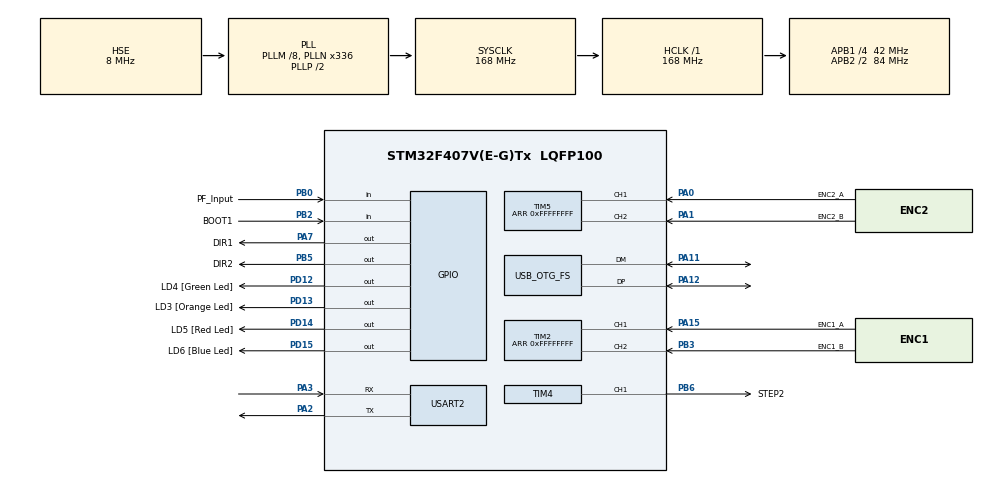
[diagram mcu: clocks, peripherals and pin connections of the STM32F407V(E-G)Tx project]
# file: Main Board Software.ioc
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Mcu.Family=STM32F4
Mcu.Name=STM32F407V(E-G)Tx
Mcu.Package=LQFP100
NVIC.OTG_FS_IRQn=true\:0\:0\:false\:false\:true\:false\:true
NVIC.PriorityGroup=NVIC_PRIORITYGROUP_4
NVIC.TIM1_TRG_COM_TIM11_IRQn=true\:0\:0\:false\:false\:true\:true\:true
NVIC.TIM3_IRQn=true\:0\:0\:false\:false\:true\:true\:true
NVIC.TIM6_DAC_IRQn=true\:0\:0\:false\:false\:true\:true\:true
NVIC.TIM7_IRQn=true\:0\:0\:false\:false\:true\:true\:true
NVIC.TIM8_UP_TIM13_IRQn=true\:0\:0\:false\:false\:true\:true\:true
PA0-WKUP.GPIO_Label=ENC2_A
PA0-WKUP.Signal=S_TIM5_CH1
PA1.GPIO_Label=ENC2_B
PA1.Signal=S_TIM5_CH2
PA11.Mode=Device_Only
PA11.Signal=USB_OTG_FS_DM
PA12.Mode=Device_Only
PA12.Signal=USB_OTG_FS_DP
PA13.GPIO_Label=SWDIO
PA13.Signal=SYS_JTMS-SWDIO
PA14.GPIO_Label=SWCLK
PA14.Signal=SYS_JTCK-SWCLK
PA15.GPIO_Label=ENC1_A
PA15.Signal=S_TIM2_CH1_ETR
PA2.Mode=Asynchronous
PA2.Signal=USART2_TX
PA3.Mode=Asynchronous
PA3.Signal=USART2_RX
PA7.GPIO_Label=DIR1
PA7.Signal=GPIO_Output
PB0.GPIO_Label=PF_Input
PB0.Signal=GPIO_Input
PB2.GPIO_Label=BOOT1
PB2.GPIO_Mode=GPIO_MODE_INPUT
PB2.GPIO_PuPd=GPIO_NOPULL
PB2.Signal=GPIO_Input
PB3.GPIO_Label=ENC1_B
PB3.Signal=S_TIM2_CH2
PB5.GPIO_Label=DIR2
PB5.Signal=GPIO_Output
PB6.GPIO_Label=STEP2
PB6.Signal=S_TIM4_CH1
PD12.GPIO_Label=LD4 [Green Led]
PD12.GPIO_PuPd=GPIO_NOPULL
PD12.GPIO_Speed=GPIO_SPEED_FREQ_VERY_HIGH
PD12.Signal=GPIO_Output
PD13.GPIO_Label=LD3 [Orange Led]
PD13.GPIO_PuPd=GPIO_NOPULL
PD13.GPIO_Speed=GPIO_SPEED_FREQ_VERY_HIGH
PD13.Signal=GPIO_Output
PD14.GPIO_Label=LD5 [Red Led]
PD14.GPIO_PuPd=GPIO_NOPULL
PD14.GPIO_Speed=GPIO_SPEED_FREQ_LOW
PD14.Signal=GPIO_Output
PD15.GPIO_Label=LD6 [Blue Led]
PD15.GPIO_PuPd=GPIO_NOPULL
PD15.GPIO_Speed=GPIO_SPEED_FREQ_LOW
PD15.Signal=GPIO_Output
PH0-OSC_IN.GPIO_Label=PH0-OSC_IN
PH0-OSC_IN.Mode=HSE-External-Oscillator
PH0-OSC_IN.Signal=RCC_OSC_IN
PH1-OSC_OUT.GPIO_Label=PH1-OSC_OUT
PH1-OSC_OUT.Mode=HSE-External-Oscillator
PH1-OSC_OUT.Signal=RCC_OSC_OUT
ProjectManager.HeapSize=0x200
ProjectManager.StackSize=0x400
ProjectManager.TargetToolchain=SW4STM32
RCC.48MHZClocksFreq_Value=48000000
RCC.AHBFreq_Value=168000000
RCC.APB1CLKDivider=RCC_HCLK_DIV4
RCC.APB1Freq_Value=42000000
RCC.APB1TimFreq_Value=84000000
RCC.APB2CLKDivider=RCC_HCLK_DIV2
RCC.APB2Freq_Value=84000000
RCC.APB2TimFreq_Value=168000000
RCC.CortexFreq_Value=168000000
RCC.HCLKFreq_Value=168000000
RCC.HSE_VALUE=8000000
RCC.HSI_VALUE=16000000
RCC.LSE_VALUE=32768
RCC.PLLM=8
RCC.PLLN=336
RCC.PLLQ=7
RCC.SYSCLKFreq_VALUE=168000000
RCC.SYSCLKSource=RCC_SYSCLKSOURCE_PLLCLK
RCC.VCOOutputFreq_Value=336000000
SH.S_TIM2_CH1_ETR.0=TIM2_CH1,Encoder_Interface
SH.S_TIM2_CH2.0=TIM2_CH2,Encoder_Interface
SH.S_TIM4_CH1.0=TIM4_CH1,PWM Generation1 CH1
SH.S_TIM5_CH1.0=TIM5_CH1,Encoder_Interface
SH.S_TIM5_CH2.0=TIM5_CH2,Encoder_Interface
TIM1.Period=0xFFFF
TIM1.Prescaler=0
TIM1.TIM_MasterOutputTrigger=TIM_TRGO_RESET
TIM1.TIM_MasterSlaveMode=TIM_MASTERSLAVEMODE_DISABLE
TIM2.EncoderMode=TIM_ENCODERMODE_TI12
TIM2.IC1Filter=15
TIM2.IC2Filter=15
TIM2.Period=0xFFFFFFFF
TIM3.AutoReloadPreload=TIM_AUTORELOAD_PRELOAD_DISABLE
TIM3.ClockDivision=TIM_CLOCKDIVISION_DIV1
TIM3.Period=65535
TIM3.Prescaler=167
TIM3.TIM_MasterOutputTrigger=TIM_TRGO_RESET
TIM3.TIM_MasterSlaveMode=TIM_MASTERSLAVEMODE_DISABLE
TIM4.Channel-PWM\ Generation1\ CH1=TIM_CHANNEL_1
TIM4.Period=1049
TIM4.Prescaler=1599
TIM4.Pulse-PWM\ Generation1\ CH1=524
TIM4.TIM_MasterSlaveMode=TIM_MASTERSLAVEMODE_ENABLE
TIM5.EncoderMode=TIM_ENCODERMODE_TI12
TIM5.IC1Filter=15
TIM5.IC2Filter=15
TIM5.Period=0xFFFFFFFF
TIM6.Period=9
TIM6.Prescaler=8399
TIM7.AutoReloadPreload=TIM_AUTORELOAD_PRELOAD_ENABLE
TIM7.Period=0
TIM7.Prescaler=7
TIM7.TIM_MasterOutputTrigger=TIM_TRGO_RESET
TIM8.Period=0xFFFF
TIM8.Prescaler=1
USART2.VirtualMode=VM_ASYNC
USB_DEVICE.CLASS_NAME_FS=CDC
USB_DEVICE.VirtualMode-CDC_FS=Cdc
USB_DEVICE.VirtualModeFS=Cdc_FS
USB_OTG_FS.VirtualMode=Device_Only
VP_TIM1_VS_ClockSourceITR.Mode=TriggerSource_ITR2
VP_TIM1_VS_ControllerModeClock.Mode=Clock Mode
VP_TIM3_VS_ClockSourceINT.Mode=Internal
VP_TIM4_VS_ClockSourceINT.Mode=Internal
VP_TIM6_VS_ClockSourceINT.Mode=Enable_Timer
VP_TIM7_VS_ClockSourceINT.Mode=Enable_Timer
VP_TIM8_VS_ClockSourceITR.Mode=TriggerSource_ITR2
VP_TIM8_VS_ControllerModeTrigger.Mode=Trigger Mode
VP_USB_DEVICE_VS_USB_DEVICE_CDC_FS.Mode=CDC_FS
board=custom

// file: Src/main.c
/* USER CODE BEGIN Header */
/**
  ******************************************************************************
  * @file           : main.c
  * @brief          : Main program body
  ******************************************************************************
  * @attention
  *
  * <h2><center>&copy; Copyright (c) 2019 STMicroelectronics.
  * All rights reserved.</center></h2>
  *
  * This software component is licensed by ST under Ultimate Liberty license
  * SLA0044, the "License"; You may not use this file except in compliance with
  * the License. You may obtain a copy of the License at:
  *                             www.st.com/SLA0044
  *
  ******************************************************************************
  */
/* USER CODE END Header */

#include "main.h"
#include "usb_device.h"

/* USER CODE BEGIN Includes */
#include "usbd_cdc_if.h"
#include "tools.h"
#include "task_scheduler.h"
#include "motion_controller.h"
/* USER CODE END Includes */

TIM_HandleTypeDef htim1;
TIM_HandleTypeDef htim2;
TIM_HandleTypeDef htim3;
TIM_HandleTypeDef htim4;
TIM_HandleTypeDef htim5;
TIM_HandleTypeDef htim6;
TIM_HandleTypeDef htim7;
TIM_HandleTypeDef htim8;

UART_HandleTypeDef huart2;

/* USER CODE BEGIN PV */
/**USART2 GPIO Configuration
PA2     ------> USART2_TX
PA3     ------> USART2_RX
*/

MotionController MotionX = {
		.back_down_limit_gpio_port = 0,
		.back_down_limit_pin = 0,
		.front_up_limit_gpio_port = 0,
		.front_up_limit_pin = 0,
		.dir_gpio_port = LD3_GPIO_Port,
		.dir_pin = LD3_Pin,
		.step_gpio_port = LD5_GPIO_Port,
		.step_pin = LD5_Pin,
		.timer = &htim3,
		.uart = &huart2,
		.tmc_addr = 0
};

SchedulerTasks stsTasks;
Task tLedTask, tSendPos;
Task tCore;

//Variable for IntToChar function
char text[12] = {0};

volatile int vgActualPos;

volatile uint16_t vgStartSpeed;
volatile uint16_t vgActualSpeed;
volatile uint16_t vgTargetSpeed;
volatile uint16_t vgRisingRamp;
volatile uint16_t vgFallingRamp;
volatile uint32_t vgFallingRampStartPos;
volatile uint32_t vgTargetPos;
volatile uint32_t vgActualMovementPos;
volatile uint8_t vgMovementState;
volatile DIRECTION vgDIR = FORWARD;
volatile uint8_t vgMovementFinishFlag = 1;

uint8_t flag = 1;
/* USER CODE END PV */

void SystemClock_Config(void);
static void MX_GPIO_Init(void);
static void MX_TIM1_Init(void);
static void MX_TIM2_Init(void);
static void MX_TIM3_Init(void);
static void MX_TIM4_Init(void);
static void MX_TIM5_Init(void);
static void MX_TIM6_Init(void);
static void MX_TIM7_Init(void);
static void MX_TIM8_Init(void);
static void MX_USART2_UART_Init(void);

/* USER CODE BEGIN 0 */

void print(const char *s) {
  while (*s!='\0') {
	  HAL_UART_Transmit(&huart2, (uint8_t *)s++, 1, 10);
	  //TODO: Use DMA or IT to send data
  }
}

/**
 *  Led task
 */
void led()
{
	HAL_GPIO_TogglePin(GPIOD, LD6_Pin);
}

/*
 * Go to correct position and stop
 */
void MotorStartPos()
{

}

/*	Generate pulses to motor
 *	Parameter:
 *	rising_ramp - in Hz
 *	falling_ramp - in Hz
 *	start_speed - in Hz
 *	target_speed - in Hz
 *	pulses - how many pulses
 *	dir - FORWARD/REVERSE
 */
void MotorStartPulsesRamp(uint16_t rising_ramp, uint16_t falling_ramp,uint16_t start_speed, uint16_t target_speed, uint32_t pulses, DIRECTION dir)
{
	if(dir == FORWARD)
	{
		HAL_GPIO_WritePin(DIR1_GPIO_Port, DIR1_Pin,GPIO_PIN_RESET);
		vgDIR = FORWARD;
	} else {
		HAL_GPIO_WritePin(DIR1_GPIO_Port, DIR1_Pin,GPIO_PIN_SET);
		vgDIR = REVERSE;
	}
	//Calculate parameters for PWM, ramps, pulses itd.
	vgMovementState = 0;
	vgActualMovementPos = 0;
	vgMovementFinishFlag = 0;
	vgActualPos = 0; //Not absolute position, just relative and only positive
	vgStartSpeed = start_speed;
	vgActualSpeed = start_speed;
	vgTargetSpeed = target_speed;
	vgRisingRamp = rising_ramp;
	vgFallingRampStartPos = pulses - (target_speed/falling_ramp);
	vgFallingRamp = falling_ramp;
	vgTargetPos = pulses;

	//Set start frequency of the PWM
	htim3.Instance->PSC = (uint16_t)((uint32_t)84000000/((uint32_t)start_speed*1049)-1);
	//Start PWM
	HAL_TIM_PWM_Start(&htim3, TIM_CHANNEL_1);
}

/*
 * Motor stop
 */
void MotorStop()
{
	HAL_TIM_PWM_Stop(&htim3, TIM_CHANNEL_1);
}

/**
 *  Led task
 */
void sendPos()
{
	print("Pos: ");
	//IntToChar((htim1.Instance->CNT + pos), text);
	print(text);
	print("\r\n");
}

/**
 * USB Send task
 */
void usbSend()
{
	HAL_GPIO_TogglePin(LD4_GPIO_Port, LD4_Pin);
	/* CDC structure where we check if the USB is transmitting */
	USBD_CDC_HandleTypeDef  *hcdc;
	/* if USB ready and sent previous data start transmitting*/
	if(hUsbDeviceFS.dev_state ==  USBD_STATE_CONFIGURED && (hcdc = hUsbDeviceFS.pClassData) != 0 && hcdc->TxState == 0)
	{
	  /* send data over usb, we have 1000 16bit samples which is 2000bytes */
	  //TODO Use usb to send data instead UART
	  //CDC_Transmit_FS((uint8_t *)aDataP, 2000);
	  /* after finish transmit we can send more */
	}
}

void Core()
{

	if(MotionX.running==FALSE)
	{
		if(flag)
		{
			MotionMoveSteps(&MotionX, 100000, 50000, 10000, 4000);
			flag = 0;
		} else
		{
			MotionMoveSteps(&MotionX, -100000, 50000, 10000, 4000);
			flag = 1;
		}
	}

}

/* USER CODE END 0 */

int main(void)
{

  /* MCU Configuration--------------------------------------------------------*/

  /* Reset of all peripherals, Initializes the Flash interface and the Systick. */
  HAL_Init();

  /* Configure the system clock */
  SystemClock_Config();

  /* Initialize all configured peripherals */
  MX_GPIO_Init();
  MX_TIM1_Init();
  MX_TIM2_Init();
  MX_TIM3_Init();
  MX_TIM4_Init();
  MX_TIM5_Init();
  MX_TIM6_Init();
  MX_TIM7_Init();
  MX_TIM8_Init();
  MX_USART2_UART_Init();
  MX_USB_DEVICE_Init();
  /* USER CODE BEGIN 2 */

  SchedulerInit(&stsTasks);
  TaskCreate(&stsTasks, &tLedTask, &led, 255);
  TaskStart(&tLedTask, 500);
  TaskCreate(&stsTasks, &tCore, &Core, 5);
  TaskStart(&tCore, 2000);

	//Enabled Timer1 responsible for change PWM frequency and other stuff
	//__HAL_TIM_CLEAR_IT(&htim1, TIM_IT_TRIGGER);
	//__HAL_TIM_ENABLE_IT(&htim1, TIM_IT_TRIGGER);
	//HAL_TIM_Base_Start_IT(&htim3);

  MotionControllerInitialize(&MotionX);
  /* USER CODE END 2 */

  /* Infinite loop */
  /* USER CODE BEGIN WHILE */
  print("Start Scheduler\r\n");

  while(1)
  {
	  //Start Schedulers
	  Scheduler(&stsTasks);
    /* USER CODE END WHILE */

  }
}

void SystemClock_Config(void)
{
  RCC_OscInitTypeDef RCC_OscInitStruct = {0};
  RCC_ClkInitTypeDef RCC_ClkInitStruct = {0};

  /** Configure the main internal regulator output voltage
  */
  __HAL_RCC_PWR_CLK_ENABLE();
  __HAL_PWR_VOLTAGESCALING_CONFIG(PWR_REGULATOR_VOLTAGE_SCALE1);
  /** Initializes the CPU, AHB and APB busses clocks
  */
  RCC_OscInitStruct.OscillatorType = RCC_OSCILLATORTYPE_HSE;
  RCC_OscInitStruct.HSEState = RCC_HSE_ON;
  RCC_OscInitStruct.PLL.PLLState = RCC_PLL_ON;
  RCC_OscInitStruct.PLL.PLLSource = RCC_PLLSOURCE_HSE;
  RCC_OscInitStruct.PLL.PLLM = 8;
  RCC_OscInitStruct.PLL.PLLN = 336;
  RCC_OscInitStruct.PLL.PLLP = RCC_PLLP_DIV2;
  RCC_OscInitStruct.PLL.PLLQ = 7;
  if (HAL_RCC_OscConfig(&RCC_OscInitStruct) != HAL_OK)
  {
    Error_Handler();
  }
  /** Initializes the CPU, AHB and APB busses clocks
  */
  RCC_ClkInitStruct.ClockType = RCC_CLOCKTYPE_HCLK|RCC_CLOCKTYPE_SYSCLK
                              |RCC_CLOCKTYPE_PCLK1|RCC_CLOCKTYPE_PCLK2;
  RCC_ClkInitStruct.SYSCLKSource = RCC_SYSCLKSOURCE_PLLCLK;
  RCC_ClkInitStruct.AHBCLKDivider = RCC_SYSCLK_DIV1;
  RCC_ClkInitStruct.APB1CLKDivider = RCC_HCLK_DIV4;
  RCC_ClkInitStruct.APB2CLKDivider = RCC_HCLK_DIV2;

  if (HAL_RCC_ClockConfig(&RCC_ClkInitStruct, FLASH_LATENCY_5) != HAL_OK)
  {
    Error_Handler();
  }
}

static void MX_TIM1_Init(void)
{

  TIM_SlaveConfigTypeDef sSlaveConfig = {0};
  TIM_MasterConfigTypeDef sMasterConfig = {0};

  htim1.Instance = TIM1;
  htim1.Init.Prescaler = 0;
  htim1.Init.CounterMode = TIM_COUNTERMODE_UP;
  htim1.Init.Period = 0xFFFF;
  htim1.Init.ClockDivision = TIM_CLOCKDIVISION_DIV1;
  htim1.Init.RepetitionCounter = 0;
  htim1.Init.AutoReloadPreload = TIM_AUTORELOAD_PRELOAD_DISABLE;
  if (HAL_TIM_Base_Init(&htim1) != HAL_OK)
  {
    Error_Handler();
  }
  sSlaveConfig.SlaveMode = TIM_SLAVEMODE_EXTERNAL1;
  sSlaveConfig.InputTrigger = TIM_TS_ITR2;
  if (HAL_TIM_SlaveConfigSynchro(&htim1, &sSlaveConfig) != HAL_OK)
  {
    Error_Handler();
  }
  sMasterConfig.MasterOutputTrigger = TIM_TRGO_RESET;
  sMasterConfig.MasterSlaveMode = TIM_MASTERSLAVEMODE_DISABLE;
  if (HAL_TIMEx_MasterConfigSynchronization(&htim1, &sMasterConfig) != HAL_OK)
  {
    Error_Handler();
  }

}

static void MX_TIM2_Init(void)
{

  TIM_Encoder_InitTypeDef sConfig = {0};
  TIM_MasterConfigTypeDef sMasterConfig = {0};

  htim2.Instance = TIM2;
  htim2.Init.Prescaler = 0;
  htim2.Init.CounterMode = TIM_COUNTERMODE_UP;
  htim2.Init.Period = 0xFFFFFFFF;
  htim2.Init.ClockDivision = TIM_CLOCKDIVISION_DIV1;
  htim2.Init.AutoReloadPreload = TIM_AUTORELOAD_PRELOAD_DISABLE;
  sConfig.EncoderMode = TIM_ENCODERMODE_TI12;
  sConfig.IC1Polarity = TIM_ICPOLARITY_RISING;
  sConfig.IC1Selection = TIM_ICSELECTION_DIRECTTI;
  sConfig.IC1Prescaler = TIM_ICPSC_DIV1;
  sConfig.IC1Filter = 15;
  sConfig.IC2Polarity = TIM_ICPOLARITY_RISING;
  sConfig.IC2Selection = TIM_ICSELECTION_DIRECTTI;
  sConfig.IC2Prescaler = TIM_ICPSC_DIV1;
  sConfig.IC2Filter = 15;
  if (HAL_TIM_Encoder_Init(&htim2, &sConfig) != HAL_OK)
  {
    Error_Handler();
  }
  sMasterConfig.MasterOutputTrigger = TIM_TRGO_RESET;
  sMasterConfig.MasterSlaveMode = TIM_MASTERSLAVEMODE_DISABLE;
  if (HAL_TIMEx_MasterConfigSynchronization(&htim2, &sMasterConfig) != HAL_OK)
  {
    Error_Handler();
  }

}

static void MX_TIM3_Init(void)
{

  TIM_ClockConfigTypeDef sClockSourceConfig = {0};
  TIM_MasterConfigTypeDef sMasterConfig = {0};

  htim3.Instance = TIM3;
  htim3.Init.Prescaler = 167;
  htim3.Init.CounterMode = TIM_COUNTERMODE_UP;
  htim3.Init.Period = 65535;
  htim3.Init.ClockDivision = TIM_CLOCKDIVISION_DIV1;
  htim3.Init.AutoReloadPreload = TIM_AUTORELOAD_PRELOAD_DISABLE;
  if (HAL_TIM_Base_Init(&htim3) != HAL_OK)
  {
    Error_Handler();
  }
  sClockSourceConfig.ClockSource = TIM_CLOCKSOURCE_INTERNAL;
  if (HAL_TIM_ConfigClockSource(&htim3, &sClockSourceConfig) != HAL_OK)
  {
    Error_Handler();
  }
  sMasterConfig.MasterOutputTrigger = TIM_TRGO_RESET;
  sMasterConfig.MasterSlaveMode = TIM_MASTERSLAVEMODE_DISABLE;
  if (HAL_TIMEx_MasterConfigSynchronization(&htim3, &sMasterConfig) != HAL_OK)
  {
    Error_Handler();
  }

}

static void MX_TIM4_Init(void)
{

  TIM_ClockConfigTypeDef sClockSourceConfig = {0};
  TIM_MasterConfigTypeDef sMasterConfig = {0};
  TIM_OC_InitTypeDef sConfigOC = {0};

  htim4.Instance = TIM4;
  htim4.Init.Prescaler = 1599;
  htim4.Init.CounterMode = TIM_COUNTERMODE_UP;
  htim4.Init.Period = 1049;
  htim4.Init.ClockDivision = TIM_CLOCKDIVISION_DIV1;
  htim4.Init.AutoReloadPreload = TIM_AUTORELOAD_PRELOAD_DISABLE;
  if (HAL_TIM_Base_Init(&htim4) != HAL_OK)
  {
    Error_Handler();
  }
  sClockSourceConfig.ClockSource = TIM_CLOCKSOURCE_INTERNAL;
  if (HAL_TIM_ConfigClockSource(&htim4, &sClockSourceConfig) != HAL_OK)
  {
    Error_Handler();
  }
  if (HAL_TIM_PWM_Init(&htim4) != HAL_OK)
  {
    Error_Handler();
  }
  sMasterConfig.MasterOutputTrigger = TIM_TRGO_RESET;
  sMasterConfig.MasterSlaveMode = TIM_MASTERSLAVEMODE_ENABLE;
  if (HAL_TIMEx_MasterConfigSynchronization(&htim4, &sMasterConfig) != HAL_OK)
  {
    Error_Handler();
  }
  sConfigOC.OCMode = TIM_OCMODE_PWM1;
  sConfigOC.Pulse = 524;
  sConfigOC.OCPolarity = TIM_OCPOLARITY_HIGH;
  sConfigOC.OCFastMode = TIM_OCFAST_DISABLE;
  if (HAL_TIM_PWM_ConfigChannel(&htim4, &sConfigOC, TIM_CHANNEL_1) != HAL_OK)
  {
    Error_Handler();
  }
  HAL_TIM_MspPostInit(&htim4);

}

static void MX_TIM5_Init(void)
{

  TIM_Encoder_InitTypeDef sConfig = {0};
  TIM_MasterConfigTypeDef sMasterConfig = {0};

  htim5.Instance = TIM5;
  htim5.Init.Prescaler = 0;
  htim5.Init.CounterMode = TIM_COUNTERMODE_UP;
  htim5.Init.Period = 0xFFFFFFFF;
  htim5.Init.ClockDivision = TIM_CLOCKDIVISION_DIV1;
  htim5.Init.AutoReloadPreload = TIM_AUTORELOAD_PRELOAD_DISABLE;
  sConfig.EncoderMode = TIM_ENCODERMODE_TI12;
  sConfig.IC1Polarity = TIM_ICPOLARITY_RISING;
  sConfig.IC1Selection = TIM_ICSELECTION_DIRECTTI;
  sConfig.IC1Prescaler = TIM_ICPSC_DIV1;
  sConfig.IC1Filter = 15;
  sConfig.IC2Polarity = TIM_ICPOLARITY_RISING;
  sConfig.IC2Selection = TIM_ICSELECTION_DIRECTTI;
  sConfig.IC2Prescaler = TIM_ICPSC_DIV1;
  sConfig.IC2Filter = 15;
  if (HAL_TIM_Encoder_Init(&htim5, &sConfig) != HAL_OK)
  {
    Error_Handler();
  }
  sMasterConfig.MasterOutputTrigger = TIM_TRGO_RESET;
  sMasterConfig.MasterSlaveMode = TIM_MASTERSLAVEMODE_DISABLE;
  if (HAL_TIMEx_MasterConfigSynchronization(&htim5, &sMasterConfig) != HAL_OK)
  {
    Error_Handler();
  }

}

static void MX_TIM6_Init(void)
{

  TIM_MasterConfigTypeDef sMasterConfig = {0};

  htim6.Instance = TIM6;
  htim6.Init.Prescaler = 8399;
  htim6.Init.CounterMode = TIM_COUNTERMODE_UP;
  htim6.Init.Period = 9;
  htim6.Init.AutoReloadPreload = TIM_AUTORELOAD_PRELOAD_DISABLE;
  if (HAL_TIM_Base_Init(&htim6) != HAL_OK)
  {
    Error_Handler();
  }
  sMasterConfig.MasterOutputTrigger = TIM_TRGO_RESET;
  sMasterConfig.MasterSlaveMode = TIM_MASTERSLAVEMODE_DISABLE;
  if (HAL_TIMEx_MasterConfigSynchronization(&htim6, &sMasterConfig) != HAL_OK)
  {
    Error_Handler();
  }

}

static void MX_TIM7_Init(void)
{

  TIM_MasterConfigTypeDef sMasterConfig = {0};

  htim7.Instance = TIM7;
  htim7.Init.Prescaler = 7;
  htim7.Init.CounterMode = TIM_COUNTERMODE_UP;
  htim7.Init.Period = 0;
  htim7.Init.AutoReloadPreload = TIM_AUTORELOAD_PRELOAD_ENABLE;
  if (HAL_TIM_Base_Init(&htim7) != HAL_OK)
  {
    Error_Handler();
  }
  sMasterConfig.MasterOutputTrigger = TIM_TRGO_RESET;
  sMasterConfig.MasterSlaveMode = TIM_MASTERSLAVEMODE_DISABLE;
  if (HAL_TIMEx_MasterConfigSynchronization(&htim7, &sMasterConfig) != HAL_OK)
  {
    Error_Handler();
  }

}

static void MX_TIM8_Init(void)
{

  TIM_SlaveConfigTypeDef sSlaveConfig = {0};
  TIM_MasterConfigTypeDef sMasterConfig = {0};

  htim8.Instance = TIM8;
  htim8.Init.Prescaler = 1;
  htim8.Init.CounterMode = TIM_COUNTERMODE_UP;
  htim8.Init.Period = 0xFFFF;
  htim8.Init.ClockDivision = TIM_CLOCKDIVISION_DIV1;
  htim8.Init.RepetitionCounter = 0;
  htim8.Init.AutoReloadPreload = TIM_AUTORELOAD_PRELOAD_DISABLE;
  if (HAL_TIM_Base_Init(&htim8) != HAL_OK)
  {
    Error_Handler();
  }
  sSlaveConfig.SlaveMode = TIM_SLAVEMODE_TRIGGER;
  sSlaveConfig.InputTrigger = TIM_TS_ITR2;
  if (HAL_TIM_SlaveConfigSynchro(&htim8, &sSlaveConfig) != HAL_OK)
  {
    Error_Handler();
  }
  sMasterConfig.MasterOutputTrigger = TIM_TRGO_RESET;
  sMasterConfig.MasterSlaveMode = TIM_MASTERSLAVEMODE_DISABLE;
  if (HAL_TIMEx_MasterConfigSynchronization(&htim8, &sMasterConfig) != HAL_OK)
  {
    Error_Handler();
  }

}

static void MX_USART2_UART_Init(void)
{

  huart2.Instance = USART2;
  huart2.Init.BaudRate = 115200;
  huart2.Init.WordLength = UART_WORDLENGTH_8B;
  huart2.Init.StopBits = UART_STOPBITS_1;
  huart2.Init.Parity = UART_PARITY_NONE;
  huart2.Init.Mode = UART_MODE_TX_RX;
  huart2.Init.HwFlowCtl = UART_HWCONTROL_NONE;
  huart2.Init.OverSampling = UART_OVERSAMPLING_16;
  if (HAL_UART_Init(&huart2) != HAL_OK)
  {
    Error_Handler();
  }

}

static void MX_GPIO_Init(void)
{
  GPIO_InitTypeDef GPIO_InitStruct = {0};

  /* GPIO Ports Clock Enable */
  __HAL_RCC_GPIOH_CLK_ENABLE();
  __HAL_RCC_GPIOA_CLK_ENABLE();
  __HAL_RCC_GPIOB_CLK_ENABLE();
  __HAL_RCC_GPIOD_CLK_ENABLE();

  /*Configure GPIO pin Output Level */
  HAL_GPIO_WritePin(DIR1_GPIO_Port, DIR1_Pin, GPIO_PIN_RESET);

  /*Configure GPIO pin Output Level */
  HAL_GPIO_WritePin(GPIOD, LD4_Pin|LD3_Pin|LD5_Pin|LD6_Pin, GPIO_PIN_RESET);

  /*Configure GPIO pin Output Level */
  HAL_GPIO_WritePin(DIR2_GPIO_Port, DIR2_Pin, GPIO_PIN_RESET);

  /*Configure GPIO pin : DIR1_Pin */
  GPIO_InitStruct.Pin = DIR1_Pin;
  GPIO_InitStruct.Mode = GPIO_MODE_OUTPUT_PP;
  GPIO_InitStruct.Pull = GPIO_NOPULL;
  GPIO_InitStruct.Speed = GPIO_SPEED_FREQ_LOW;
  HAL_GPIO_Init(DIR1_GPIO_Port, &GPIO_InitStruct);

  /*Configure GPIO pins : PF_Input_Pin BOOT1_Pin */
  GPIO_InitStruct.Pin = PF_Input_Pin|BOOT1_Pin;
  GPIO_InitStruct.Mode = GPIO_MODE_INPUT;
  GPIO_InitStruct.Pull = GPIO_NOPULL;
  HAL_GPIO_Init(GPIOB, &GPIO_InitStruct);

  /*Configure GPIO pins : LD4_Pin LD3_Pin */
  GPIO_InitStruct.Pin = LD4_Pin|LD3_Pin;
  GPIO_InitStruct.Mode = GPIO_MODE_OUTPUT_PP;
  GPIO_InitStruct.Pull = GPIO_NOPULL;
  GPIO_InitStruct.Speed = GPIO_SPEED_FREQ_VERY_HIGH;
  HAL_GPIO_Init(GPIOD, &GPIO_InitStruct);

  /*Configure GPIO pins : LD5_Pin LD6_Pin */
  GPIO_InitStruct.Pin = LD5_Pin|LD6_Pin;
  GPIO_InitStruct.Mode = GPIO_MODE_OUTPUT_PP;
  GPIO_InitStruct.Pull = GPIO_NOPULL;
  GPIO_InitStruct.Speed = GPIO_SPEED_FREQ_LOW;
  HAL_GPIO_Init(GPIOD, &GPIO_InitStruct);

  /*Configure GPIO pin : DIR2_Pin */
  GPIO_InitStruct.Pin = DIR2_Pin;
  GPIO_InitStruct.Mode = GPIO_MODE_OUTPUT_PP;
  GPIO_InitStruct.Pull = GPIO_NOPULL;
  GPIO_InitStruct.Speed = GPIO_SPEED_FREQ_LOW;
  HAL_GPIO_Init(DIR2_GPIO_Port, &GPIO_InitStruct);

}

void Error_Handler(void)
{
}

/************************ (C) COPYRIGHT STMicroelectronics *****END OF FILE****/
